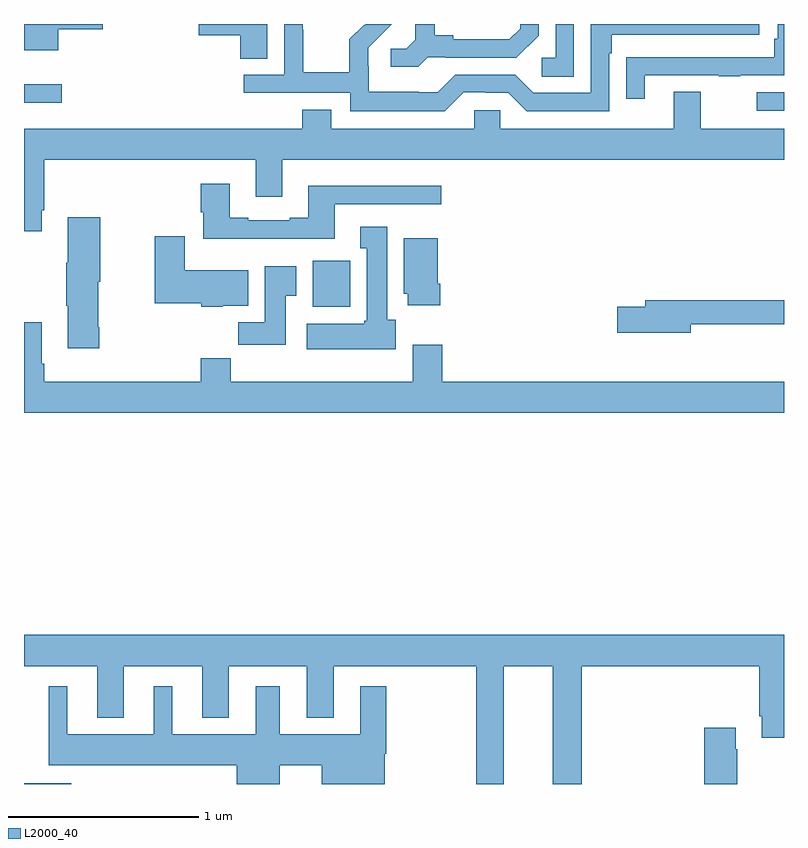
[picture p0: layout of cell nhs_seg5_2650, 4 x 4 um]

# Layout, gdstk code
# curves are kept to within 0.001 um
import gdstk
lib = gdstk.Library(unit=1e-6, precision=1e-09)
def R(c, l, rs):  # rectangles x0, y0, x1, y1
    for r in rs: c.add(gdstk.rectangle(r[:2], r[2:], *l))
def P(c, l, *ps):  # polygons
    for p in ps: c.add(gdstk.Polygon(p, *l))
L2000_40 = (2000, 40)

nhs_seg5_2650 = lib.new_cell('nhs_seg5_2650')
R(nhs_seg5_2650, L2000_40, [(265,862.799,265.249,862.804), (266.519,865.31,266.716,865.552), (268.857,866.343,269,866.439), (265,866.384,265.198,866.481)])
P(nhs_seg5_2650, L2000_40, [(267.126,866.625),(267.22,866.625),(267.22,866.622),(267.592,866.622),(267.708,866.738),(267.708,866.799),(267.611,866.799),(267.611,866.775),(267.554,866.718),(267.259,866.718),(267.259,866.741),(267.163,866.741),(267.163,866.799),(267.059,866.799),(267.059,866.717),(267.012,866.67),(266.931,866.67),(266.931,866.573),(267.074,866.573)],
  [(267.894,866.799),(267.798,866.799),(267.798,866.622),(267.726,866.622),(267.726,866.521),(267.894,866.521)],
  [(267.315,866.439),(267.431,866.439),(267.431,866.436),(267.549,866.436),(267.645,866.34),(268.08,866.34),(268.08,866.645),(268.093,866.645),(268.093,866.742),(268.87,866.742),(268.87,866.799),(267.984,866.799),(267.984,866.436),(267.681,866.436),(267.585,866.532),(267.27,866.532),(267.177,866.439),(267.077,866.439),(267.077,866.443),(266.814,866.443),(266.814,866.577),(266.812,866.577),(266.812,866.674),(266.935,866.799),(266.799,866.799),(266.793,866.793),(266.79,866.796),(266.713,866.719),(266.713,866.545),(266.469,866.545),(266.469,866.768),(266.466,866.768),(266.466,866.799),(266.37,866.799),(266.37,866.532),(266.157,866.532),(266.157,866.436),(266.718,866.436),(266.718,866.339),(267.215,866.339)],
  [(265.18,866.771),(265.415,866.771),(265.415,866.799),(265.001,866.799),(265.001,866.66),(265.18,866.66)],
  [(266.281,866.799),(265.92,866.799),(265.92,866.741),(266.138,866.741),(266.138,866.617),(266.281,866.617)],
  [(268.267,866.529),(268.657,866.529),(268.657,866.524),(268.769,866.524),(268.769,866.529),(269,866.529),(269,866.799),(268.968,866.799),(268.968,866.722),(268.948,866.722),(268.948,866.625),(268.273,866.625),(268.273,866.624),(268.171,866.624),(268.171,866.406),(268.267,866.406)],
  [(265.093,865.819),(265.106,865.819),(265.106,866.084),(266.219,866.084),(266.219,865.89),(266.359,865.89),(266.359,866.084),(269,866.084),(269,866.248),(268.561,866.248),(268.561,866.443),(268.421,866.443),(268.421,866.248),(267.507,866.248),(267.507,866.346),(267.369,866.346),(267.369,866.248),(266.617,866.248),(266.617,866.347),(266.465,866.347),(266.465,866.248),(265,866.248),(265,865.707),(265.093,865.707)],
  [(266.635,865.851),(267.196,865.851),(267.196,865.948),(266.495,865.948),(266.495,865.78),(266.399,865.78),(266.399,865.767),(266.179,865.767),(266.179,865.78),(266.083,865.78),(266.083,865.957),(265.931,865.957),(265.931,865.809),(265.943,865.809),(265.943,865.67),(266.635,865.67)],
  [(265.397,865.204),(265.392,865.204),(265.392,865.443),(265.402,865.443),(265.402,865.783),(265.229,865.783),(265.229,865.543),(265.222,865.543),(265.222,865.315),(265.229,865.315),(265.229,865.092),(265.397,865.092)],
  [(266.956,865.242),(266.911,865.242),(266.911,865.732),(266.771,865.732),(266.771,865.619),(266.804,865.619),(266.804,865.236),(266.791,865.236),(266.791,865.222),(266.487,865.222),(266.487,865.088),(266.956,865.088)],
  [(266.046,865.316),(266.179,865.316),(266.179,865.504),(265.846,865.504),(265.846,865.681),(265.688,865.681),(265.688,865.328),(265.932,865.328),(265.932,865.31),(266.046,865.31)],
  [(267.191,865.432),(267.178,865.432),(267.178,865.672),(266.999,865.672),(266.999,865.38),(267.02,865.38),(267.02,865.32),(267.191,865.32)],
  [(266.377,865.369),(266.434,865.369),(266.434,865.525),(266.267,865.525),(266.267,865.228),(266.128,865.228),(266.128,865.11),(266.377,865.11)],
  [(268.51,865.218),(269,865.218),(269,865.346),(268.271,865.346),(268.271,865.31),(268.122,865.31),(268.122,865.175),(268.51,865.175)],
  [(269,864.916),(267.2,864.916),(267.2,865.111),(267.047,865.111),(267.047,864.916),(266.087,864.916),(266.087,865.04),(265.931,865.04),(265.931,864.916),(265.106,864.916),(265.106,865.012),(265.093,865.012),(265.093,865.228),(265,865.228),(265,864.752),(269,864.752)],
  [(265,863.42),(265.385,863.42),(265.385,863.147),(265.525,863.147),(265.525,863.42),(265.937,863.42),(265.937,863.147),(266.077,863.147),(266.077,863.42),(266.489,863.42),(266.489,863.147),(266.629,863.147),(266.629,863.42),(267.379,863.42),(267.379,862.799),(267.526,862.799),(267.526,863.42),(267.782,863.42),(267.782,862.799),(267.935,862.799),(267.935,863.42),(268.871,863.42),(268.871,863.155),(268.883,863.155),(268.883,863.043),(269,863.043),(269,863.584),(265,863.584)],
  [(266.347,862.898),(266.567,862.898),(266.567,862.799),(266.899,862.799),(266.899,862.958),(266.907,862.958),(266.907,863.314),(266.771,863.314),(266.771,863.062),(266.347,863.062),(266.347,863.314),(266.219,863.314),(266.219,863.062),(265.78,863.062),(265.78,863.314),(265.682,863.314),(265.682,863.062),(265.228,863.062),(265.228,863.314),(265.13,863.314),(265.13,862.898),(266.12,862.898),(266.12,862.799),(266.347,862.799)],
  [(268.755,862.982),(268.747,862.982),(268.747,863.095),(268.58,863.095),(268.58,862.799),(268.755,862.799)])

lib.write_gds('nhs_seg5_2650.gds')
